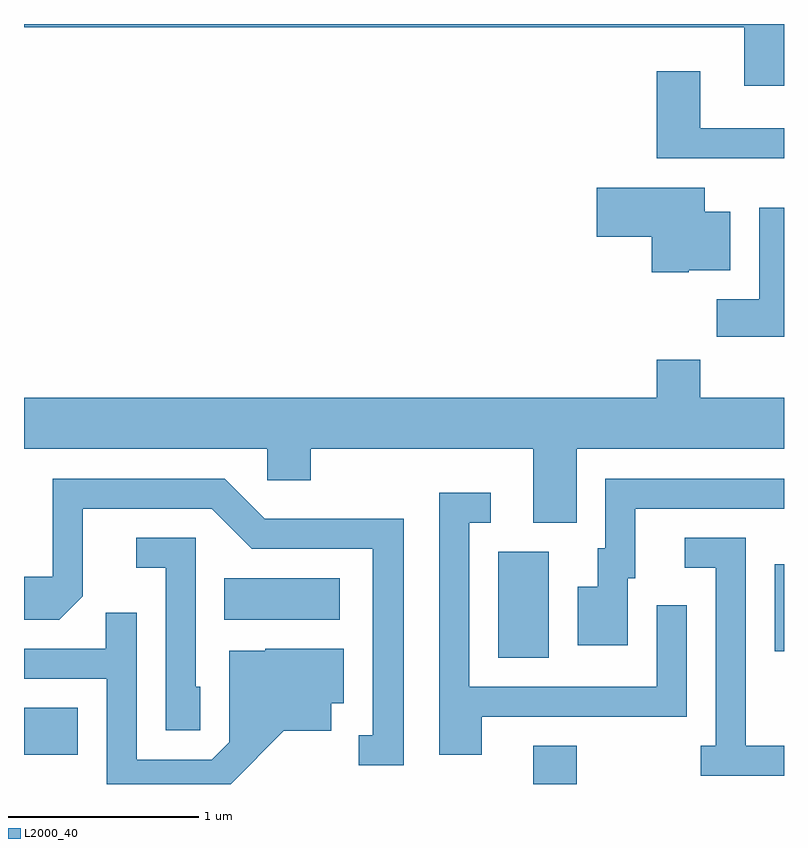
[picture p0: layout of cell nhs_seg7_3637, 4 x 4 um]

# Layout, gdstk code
import gdstk
lib = gdstk.Library(unit=1e-6, precision=1e-09)
def R(c, l, rs):  # rectangles x0, y0, x1, y1
    for r in rs: c.add(gdstk.rectangle(r[:2], r[2:], *l))
def P(c, l, *ps):  # polygons
    for p in ps: c.add(gdstk.Polygon(p, *l))
L2000_40 = (2000, 40)

nhs_seg7_3637 = lib.new_cell('nhs_seg7_3637')
R(nhs_seg7_3637, L2000_40, [(298.291,1790.252,298.519,1790.454), (295.611,1790.406,295.894,1790.654), (298.106,1790.916,298.374,1791.474), (299.561,1790.951,299.611,1791.409), (296.666,1791.116,297.274,1791.334)])
P(nhs_seg7_3637, L2000_40, [(299.611,1794.252),(295.611,1794.252),(295.611,1794.236),(299.401,1794.236),(299.401,1793.926),(299.611,1793.926)],
  [(299.611,1793.704),(299.169,1793.704),(299.169,1794.004),(298.941,1794.004),(298.941,1793.546),(299.611,1793.546)],
  [(299.11,1792.956),(299.329,1792.956),(299.329,1793.264),(299.194,1793.264),(299.194,1793.389),(298.626,1793.389),(298.626,1793.131),(298.916,1793.131),(298.916,1792.946),(299.11,1792.946)],
  [(299.611,1793.284),(299.481,1793.284),(299.481,1792.804),(299.256,1792.804),(299.256,1792.606),(299.611,1792.606)],
  [(298.519,1792.016),(299.611,1792.016),(299.611,1792.284),(299.169,1792.284),(299.169,1792.484),(298.941,1792.484),(298.941,1792.284),(295.611,1792.284),(295.611,1792.016),(296.891,1792.016),(296.891,1791.851),(297.119,1791.851),(297.119,1792.016),(298.291,1792.016),(298.291,1791.626),(298.519,1791.626)],
  [(298.789,1791.336),(298.829,1791.336),(298.829,1791.701),(299.611,1791.701),(299.611,1791.859),(298.671,1791.859),(298.671,1791.494),(298.631,1791.494),(298.631,1791.289),(298.526,1791.289),(298.526,1790.981),(298.789,1790.981)],
  [(297.609,1791.649),(296.877,1791.649),(296.667,1791.859),(295.761,1791.859),(295.761,1791.344),(295.611,1791.344),(295.611,1791.116),(295.797,1791.116),(295.919,1791.239),(295.919,1791.701),(296.599,1791.701),(296.809,1791.491),(297.446,1791.491),(297.446,1790.509),(297.373,1790.509),(297.373,1790.351),(297.609,1790.351)],
  [(298.019,1790.606),(299.099,1790.606),(299.099,1791.193),(298.941,1791.193),(298.941,1790.764),(297.954,1790.764),(297.954,1791.626),(298.068,1791.626),(298.068,1791.784),(297.796,1791.784),(297.796,1790.406),(298.019,1790.406)],
  [(296.539,1790.764),(296.514,1790.764),(296.514,1791.549),(296.203,1791.549),(296.203,1791.391),(296.356,1791.391),(296.356,1790.536),(296.539,1790.536)],
  [(299.611,1790.454),(299.409,1790.454),(299.409,1791.549),(299.088,1791.549),(299.088,1791.391),(299.251,1791.391),(299.251,1790.454),(299.173,1790.454),(299.173,1790.296),(299.611,1790.296)],
  [(296.977,1790.531),(297.229,1790.531),(297.229,1790.676),(297.294,1790.676),(297.294,1790.964),(296.88,1790.964),(296.88,1790.954),(296.691,1790.954),(296.691,1790.472),(296.599,1790.379),(296.204,1790.379),(296.204,1791.153),(296.041,1791.153),(296.041,1790.964),(295.611,1790.964),(295.611,1790.806),(296.046,1790.806),(296.046,1790.252),(296.698,1790.252)])

lib.write_gds('nhs_seg7_3637.gds')
